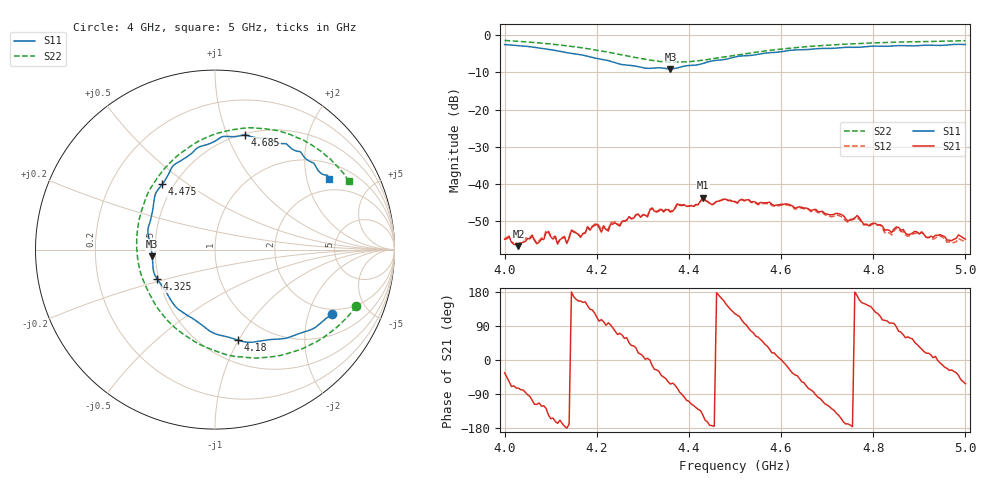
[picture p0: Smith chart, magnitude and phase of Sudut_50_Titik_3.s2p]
# Hz S RI R 50
! CMT, C1220, 16058040, 17.2.0/1
! Date: 15/08/2018 12:37:25
! Data: Format (Calibration Info)
! Freq  S11: Re/Im (F2)  S21: Re/Im (F2)  S12: Re/Im (F2)  S22: Re/Im (F2)
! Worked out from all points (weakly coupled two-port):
!   201 points, 4 GHz to 5 GHz, reference 50 ohm
!   highest |S21| = -43.64 dB at 4.43 GHz (marker M1); lowest = -56.6 dB at 4.03 GHz (marker M2)
!   lowest |S11| = -9.1 dB at 4.36 GHz (marker M3), VSWR 2.08, Z = 24.1 - j2.06 ohm
!   |S11| at or under -10 dB: nowhere
!   |S22| runs from -7.3 to -1.5 dB; largest |S21 - S12| = 0.00028
!   S11 on the Smith chart (normalised r, x): 4 GHz: 1.78, -2.89; 4.18 GHz: 0.72, -0.99; 4.325 GHz: 0.49, -0.18; 4.475 GHz: 0.43, +0.40; 4.685 GHz: 0.51, +1.16; 5 GHz: 1.54, +2.73
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4e9  0.6538 -0.3591  0.00152 -0.00101  0.00159 -0.000964  0.785 -0.3159
4.03e9  0.5969 -0.4027  0.0004 -0.00142  0.000471 -0.0015  0.731 -0.3822
4.06e9  0.5255 -0.4496  -0.000585 -0.00193  -0.000603 -0.00199  0.6637 -0.4449
4.07e9  0.4991 -0.4578  -0.00072 -0.00141  -0.000717 -0.00144  0.6379 -0.4644
4.09e9  0.4372 -0.4797  -0.00137 -0.00177  -0.00144 -0.00188  0.5833 -0.503
4.115e9  0.3564 -0.4982  -0.00153 -0.000345  -0.00158 -0.000356  0.5055 -0.5432
4.13e9  0.3064 -0.5012  -0.00193 -0.000182  -0.00198 -0.000222  0.4541 -0.5638
4.135e9  0.288 -0.5038  -0.00162 -1.38e-06  -0.0016 -2.13e-05  0.4357 -0.569
4.145e9  0.249 -0.5097  -0.0024 1.39e-05  -0.00242 -5.15e-05  0.3982 -0.5807
4.17e9  0.1588 -0.5129  -0.00191 0.00101  -0.00196 0.000963  0.3035 -0.5987
4.18e9  0.1262 -0.5041  -0.00212 0.00159  -0.0022 0.00156  0.2614 -0.602
4.225e9  -0.0309 -0.4527  -0.000334 0.00233  -0.000359 0.00244  0.0643 -0.5855
4.325e9  -0.323 -0.1622  0.00397 -0.00181  0.00407 -0.00182  -0.3301 -0.3102
4.335e9  -0.3398 -0.1303  0.00377 -0.00219  0.00386 -0.00227  -0.355 -0.2656
4.36e9  -0.3494 -0.0374  0.00187 -0.00378  0.00186 -0.00389  -0.4087 -0.1486
4.43e9  -0.3451 0.2301  -0.00535 -0.00382  -0.00534 -0.00363  -0.4147 0.1972
4.475e9  -0.2942 0.3642  -0.00579 0.00241  -0.0057 0.00257  -0.3336 0.3803
4.5e9  -0.2474 0.4437  -0.0031 0.00496  -0.00301 0.00493  -0.2731 0.4605
4.67e9  0.1424 0.6342  0.000474 -0.00451  0.000358 -0.00435  0.2094 0.6782
4.685e9  0.1683 0.6383  -0.000867 -0.00418  -0.000922 -0.004  0.2494 0.6759
4.835e9  0.4452 0.5519  -0.000311 0.00237  -0.000294 0.0022  0.5531 0.5736
5e9  0.6347 0.3924  0.000842 -0.00162  0.000809 -0.00144  0.747 0.3812
